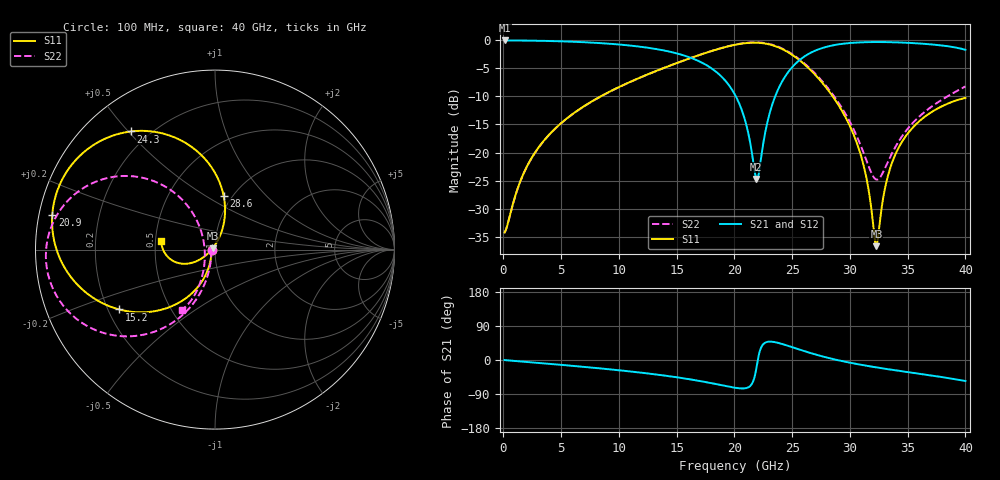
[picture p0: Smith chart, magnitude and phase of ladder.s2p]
! B_s8_L1L3_stub_d200: via ladder as kisi uses it (kisi_si::via_pbm, graded grid, junction model), ports at the via
# Hz S RI R 50
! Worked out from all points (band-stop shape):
!   400 points, 100 MHz to 40 GHz, reference 50 ohm
!   highest |S21| = -0.17 dB at 100 MHz (marker M1); lowest = -24.7 dB at 21.9 GHz (marker M2)
!   |S21| within 3 dB of the highest: start of sweep to 16.13 GHz; 25.94 GHz to end of sweep
!   lowest |S11| = -36.6 dB at 32.3 GHz (marker M3), VSWR 1.03, Z = 48.8 + j0.798 ohm
!   |S11| at or under -10 dB: start of sweep to 8.478 GHz; 28.49 GHz to end of sweep
!   |S22| runs from -34.2 to -0.5 dB; largest |S21 - S12| = 0
!   S11 on the Smith chart (normalised r, x): 100 MHz: 0.96, -0.01; 15.2 GHz: 0.25, -0.27; 20.9 GHz: 0.04, +0.10; 24.3 GHz: 0.13, +0.51; 28.6 GHz: 0.91, +0.60; 40 GHz: 0.54, +0.06
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1e8  -0.0193 -0.00347  0.9807 -0.00431  0.9807 -0.00431  -0.0193 -0.00349
1.3e9  -0.0225 -0.045  0.978 -0.056  0.978 -0.056  -0.0213 -0.0454
2.5e9  -0.0312 -0.0861  0.9707 -0.1076  0.9707 -0.1076  -0.027 -0.0872
6.8e9  -0.1099 -0.2246  0.9034 -0.2879  0.9034 -0.2879  -0.0794 -0.2363
1.34e10  -0.4059 -0.3496  0.6364 -0.5132  0.6364 -0.5132  -0.3008 -0.4425
1.52e10  -0.5337 -0.3337  0.5128 -0.5394  0.5128 -0.5394  -0.411 -0.4765
1.78e10  -0.7478 -0.2141  0.2883 -0.4972  0.2883 -0.4972  -0.6267 -0.4626
2.01e10  -0.8978 0.0565  0.0903 -0.3038  0.0903 -0.3038  -0.8486 -0.3083
2.09e10  -0.9067 0.1925  0.0516 -0.1895  0.0516 -0.1895  -0.9083 -0.2052
2.19e10  -0.8586 0.3759  0.0539 -0.0219  0.0539 -0.0219  -0.9422 -0.0425
2.31e10  -0.701 0.5663  0.1539 0.1739  0.1539 0.1739  -0.8929 0.1696
2.43e10  -0.4675 0.6583  0.3446 0.2965  0.3446 0.2965  -0.7444 0.3359
2.67e10  -0.0683 0.5187  0.7368 0.2303  0.7368 0.2303  -0.3657 0.3901
2.86e10  0.0479 0.3009  0.8901 0.0317  0.8901 0.0317  -0.1723 0.2669
3.1e10  0.0312 0.085  0.9206 -0.2103  0.9206 -0.2103  -0.0721 0.0846
3.16e10  0.0128 0.0462  0.9114 -0.2622  0.9114 -0.2622  -0.063 0.0434
3.23e10  -0.0124 0.00818  0.8952 -0.3181  0.8952 -0.3181  -0.0576 -0.00149
3.29e10  -0.0362 -0.0185  0.8775 -0.3623  0.8775 -0.3623  -0.0565 -0.0374
3.34e10  -0.0571 -0.0369  0.8604 -0.3968  0.8604 -0.3968  -0.0577 -0.0655
3.44e10  -0.1007 -0.0635  0.8208 -0.4596  0.8208 -0.4596  -0.0645 -0.1173
3.58e10  -0.1627 -0.079  0.7544 -0.5354  0.7544 -0.5354  -0.0815 -0.1813
4e10  -0.3005 0.0475  0.46 -0.6684  0.46 -0.6684  -0.1863 -0.3359
